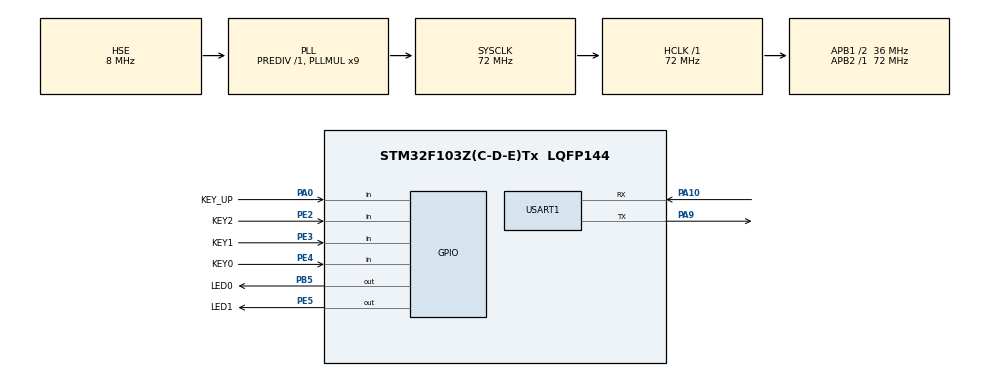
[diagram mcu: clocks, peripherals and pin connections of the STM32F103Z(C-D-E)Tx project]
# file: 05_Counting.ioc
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FREERTOS.CountingSemaphores01=Sem_Tables,5,Dynamic,NULL,0
FREERTOS.Tasks01=Task_Checkin,24,128,AppTask_Checkin,Default,NULL,Dynamic,NULL,NULL
Mcu.Family=STM32F1
Mcu.Name=STM32F103Z(C-D-E)Tx
Mcu.Package=LQFP144
NVIC.PriorityGroup=NVIC_PRIORITYGROUP_4
NVIC.TIM3_IRQn=true\:5\:0\:false\:false\:true\:true\:true\:true\:true
NVIC.TIM6_IRQn=true\:15\:0\:false\:false\:true\:false\:false\:true\:true
NVIC.TimeBase=TIM6_IRQn
NVIC.TimeBaseIP=TIM6
OSC_IN.Mode=HSE-External-Oscillator
OSC_IN.Signal=RCC_OSC_IN
OSC_OUT.Mode=HSE-External-Oscillator
OSC_OUT.Signal=RCC_OSC_OUT
PA0-WKUP.GPIO_Label=KEY_UP
PA0-WKUP.GPIO_PuPd=GPIO_PULLDOWN
PA0-WKUP.Signal=GPIO_Input
PA10.Mode=Asynchronous
PA10.Signal=USART1_RX
PA13.Mode=Serial_Wire
PA13.Signal=SYS_JTMS-SWDIO
PA14.Mode=Serial_Wire
PA14.Signal=SYS_JTCK-SWCLK
PA9.Mode=Asynchronous
PA9.Signal=USART1_TX
PB5.GPIO_Label=LED0
PB5.Signal=GPIO_Output
PC14-OSC32_IN.Mode=LSE-External-Oscillator
PC14-OSC32_IN.Signal=RCC_OSC32_IN
PC15-OSC32_OUT.Mode=LSE-External-Oscillator
PC15-OSC32_OUT.Signal=RCC_OSC32_OUT
PE2.GPIO_Label=KEY2
PE2.GPIO_PuPd=GPIO_PULLUP
PE2.Signal=GPIO_Input
PE3.GPIO_Label=KEY1
PE3.GPIO_PuPd=GPIO_PULLUP
PE3.Signal=GPIO_Input
PE4.GPIO_Label=KEY0
PE4.GPIO_PuPd=GPIO_PULLUP
PE4.Signal=GPIO_Input
PE5.GPIO_Label=LED1
PE5.Signal=GPIO_Output
ProjectManager.HeapSize=0x800
ProjectManager.StackSize=0x800
ProjectManager.TargetToolchain=MDK-ARM V5.32
RCC.AHBFreq_Value=72000000
RCC.APB1CLKDivider=RCC_HCLK_DIV2
RCC.APB1Freq_Value=36000000
RCC.APB1TimFreq_Value=72000000
RCC.APB2Freq_Value=72000000
RCC.APB2TimFreq_Value=72000000
RCC.HCLKFreq_Value=72000000
RCC.PLLMUL=RCC_PLL_MUL9
RCC.PLLSourceVirtual=RCC_PLLSOURCE_HSE
RCC.RTCClockSelection=RCC_RTCCLKSOURCE_LSE
RCC.SYSCLKFreq_VALUE=72000000
RCC.SYSCLKSource=RCC_SYSCLKSOURCE_PLLCLK
RCC.USBFreq_Value=72000000
TIM3.AutoReloadPreload=TIM_AUTORELOAD_PRELOAD_ENABLE
TIM3.Period=7200-1
TIM3.Prescaler=30000-1
TIM3.TIM_MasterOutputTrigger=TIM_TRGO_UPDATE
USART1.VirtualMode=VM_ASYNC
VP_FREERTOS_VS_CMSIS_V2.Mode=CMSIS_V2
VP_SYS_VS_tim6.Mode=TIM6
VP_TIM3_VS_ClockSourceINT.Mode=Internal
board=custom

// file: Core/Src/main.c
/* USER CODE BEGIN Header */
/**
  ******************************************************************************
  * @file           : main.c
  * @brief          : Main program body
  ******************************************************************************
  * @attention
  *
  * Copyright (c) 2025 STMicroelectronics.
  * All rights reserved.
  *
  * This software is licensed under terms that can be found in the LICENSE file
  * in the root directory of this software component.
  * If no LICENSE file comes with this software, it is provided AS-IS.
  *
  ******************************************************************************
  */
/* USER CODE END Header */
#include "main.h"
#include "cmsis_os.h"
#include "tim.h"
#include "usart.h"
#include "gpio.h"

/* USER CODE BEGIN Includes */
#include "stdio.h"
/* USER CODE END Includes */

void SystemClock_Config(void);
void MX_FREERTOS_Init(void);

int main(void)
{

  /* MCU Configuration--------------------------------------------------------*/

  /* Reset of all peripherals, Initializes the Flash interface and the Systick. */
  HAL_Init();

  /* Configure the system clock */
  SystemClock_Config();

  /* Initialize all configured peripherals */
  MX_GPIO_Init();
  MX_USART1_UART_Init();
  MX_TIM3_Init();
  /* USER CODE BEGIN 2 */
  HAL_TIM_Base_Start_IT(&htim3);//开启3s定时器
  printf("Task Begin\r\n");
  printf("Demo: Counting Queue\r\n");
  /* USER CODE END 2 */

  /* Init scheduler */
  osKernelInitialize();  /* Call init function for freertos objects (in cmsis_os2.c) */
  MX_FREERTOS_Init();

  /* Start scheduler */
  osKernelStart();

  /* We should never get here as control is now taken by the scheduler */

  /* Infinite loop */
  while (1)
  {

  }
}

void SystemClock_Config(void)
{
  RCC_OscInitTypeDef RCC_OscInitStruct = {0};
  RCC_ClkInitTypeDef RCC_ClkInitStruct = {0};

  /** Initializes the RCC Oscillators according to the specified parameters
  * in the RCC_OscInitTypeDef structure.
  */
  RCC_OscInitStruct.OscillatorType = RCC_OSCILLATORTYPE_HSE;
  RCC_OscInitStruct.HSEState = RCC_HSE_ON;
  RCC_OscInitStruct.HSEPredivValue = RCC_HSE_PREDIV_DIV1;
  RCC_OscInitStruct.HSIState = RCC_HSI_ON;
  RCC_OscInitStruct.PLL.PLLState = RCC_PLL_ON;
  RCC_OscInitStruct.PLL.PLLSource = RCC_PLLSOURCE_HSE;
  RCC_OscInitStruct.PLL.PLLMUL = RCC_PLL_MUL9;
  if (HAL_RCC_OscConfig(&RCC_OscInitStruct) != HAL_OK)
  {
    Error_Handler();
  }

  /** Initializes the CPU, AHB and APB buses clocks
  */
  RCC_ClkInitStruct.ClockType = RCC_CLOCKTYPE_HCLK|RCC_CLOCKTYPE_SYSCLK
                              |RCC_CLOCKTYPE_PCLK1|RCC_CLOCKTYPE_PCLK2;
  RCC_ClkInitStruct.SYSCLKSource = RCC_SYSCLKSOURCE_PLLCLK;
  RCC_ClkInitStruct.AHBCLKDivider = RCC_SYSCLK_DIV1;
  RCC_ClkInitStruct.APB1CLKDivider = RCC_HCLK_DIV2;
  RCC_ClkInitStruct.APB2CLKDivider = RCC_HCLK_DIV1;

  if (HAL_RCC_ClockConfig(&RCC_ClkInitStruct, FLASH_LATENCY_2) != HAL_OK)
  {
    Error_Handler();
  }
}

void Error_Handler(void)
{
  __disable_irq();
  while (1)
  {
  }
}

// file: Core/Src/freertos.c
/* USER CODE BEGIN Header */
/**
  ******************************************************************************
  * File Name          : freertos.c
  * Description        : Code for freertos applications
  ******************************************************************************
  * @attention
  *
  * Copyright (c) 2025 STMicroelectronics.
  * All rights reserved.
  *
  * This software is licensed under terms that can be found in the LICENSE file
  * in the root directory of this software component.
  * If no LICENSE file comes with this software, it is provided AS-IS.
  *
  ******************************************************************************
  */
/* USER CODE END Header */

#include "FreeRTOS.h"
#include "task.h"
#include "main.h"
#include "cmsis_os.h"

/* USER CODE BEGIN Includes */
#include "stdio.h"
#include "key.h"
#include "usart.h"
#include "tim.h"
#include "semphr.h"
#include "string.h"
/* USER CODE END Includes */

/* Definitions for Task_Checkin */
osThreadId_t Task_CheckinHandle;
const osThreadAttr_t Task_Checkin_attributes = {
  .name = "Task_Checkin",
  .stack_size = 128 * 4,
  .priority = (osPriority_t) osPriorityNormal,
};
/* Definitions for Sem_Tables */
osSemaphoreId_t Sem_TablesHandle;
const osSemaphoreAttr_t Sem_Tables_attributes = {
  .name = "Sem_Tables"
};

void AppTask_Checkin(void *argument);

void MX_FREERTOS_Init(void); /* (MISRA C 2004 rule 8.1) */

void MX_FREERTOS_Init(void) {

  /* Create the semaphores(s) */
  /* creation of Sem_Tables */
  Sem_TablesHandle = osSemaphoreNew(5, 0, &Sem_Tables_attributes);

  /* Create the thread(s) */
  /* creation of Task_Checkin */
  Task_CheckinHandle = osThreadNew(AppTask_Checkin, NULL, &Task_Checkin_attributes);

}

void AppTask_Checkin(void *argument)
{
  /* USER CODE BEGIN AppTask_Checkin */
  char temp_str[50];
  //sprintf(temp_str, "Hello World!\r\n");
  /* Infinite loop */
  for(;;)
  {
    if (HAL_GPIO_ReadPin(KEYUP_GPIO_PORT, KEYUP_GPIO_PIN) == GPIO_PIN_SET)
    {
      if (xSemaphoreTake(Sem_TablesHandle, pdMS_TO_TICKS(100)) == pdTRUE)
      {
        sprintf(temp_str, "Success to Check in!\r\n");
        HAL_UART_Transmit(&huart1, (uint8_t *)temp_str, strlen(temp_str), 1000);
      }else
      {
        sprintf(temp_str, "Failed to Check in!\r\n");
        HAL_UART_Transmit(&huart1, (uint8_t *)temp_str, strlen(temp_str), 1000);
      }
      vTaskDelay(pdMS_TO_TICKS(300));
    }
    sprintf(temp_str, "Available tables = %d \r\n",uxSemaphoreGetCount(Sem_TablesHandle));
    HAL_UART_Transmit(&huart1, (uint8_t *)temp_str, strlen(temp_str), 1000);
    vTaskDelay(pdMS_TO_TICKS(10));
    //osDelay(1);
  }
  /* USER CODE END AppTask_Checkin */
}

/* USER CODE BEGIN Application */
//编写定时器中断回调函数程序
void HAL_TIM_PeriodElapsedCallback(TIM_HandleTypeDef *htim)
{
  /* USER CODE BEGIN Callback 0 */

  /* USER CODE END Callback 0 */
  if (htim->Instance == TIM6)
  {
    HAL_IncTick();
  }
  /* USER CODE BEGIN Callback 1 */
  if (htim == &htim3)
  {
    BaseType_t hightaskWoken = pdFALSE;
    if (Sem_TablesHandle != NULL)
    {
      xSemaphoreGiveFromISR(Sem_TablesHandle, &hightaskWoken);
      //重新调度任务优先级
      portYIELD_FROM_ISR(hightaskWoken);
    }
  }
  /* USER CODE END Callback 1 */
}

/* USER CODE END Application */
